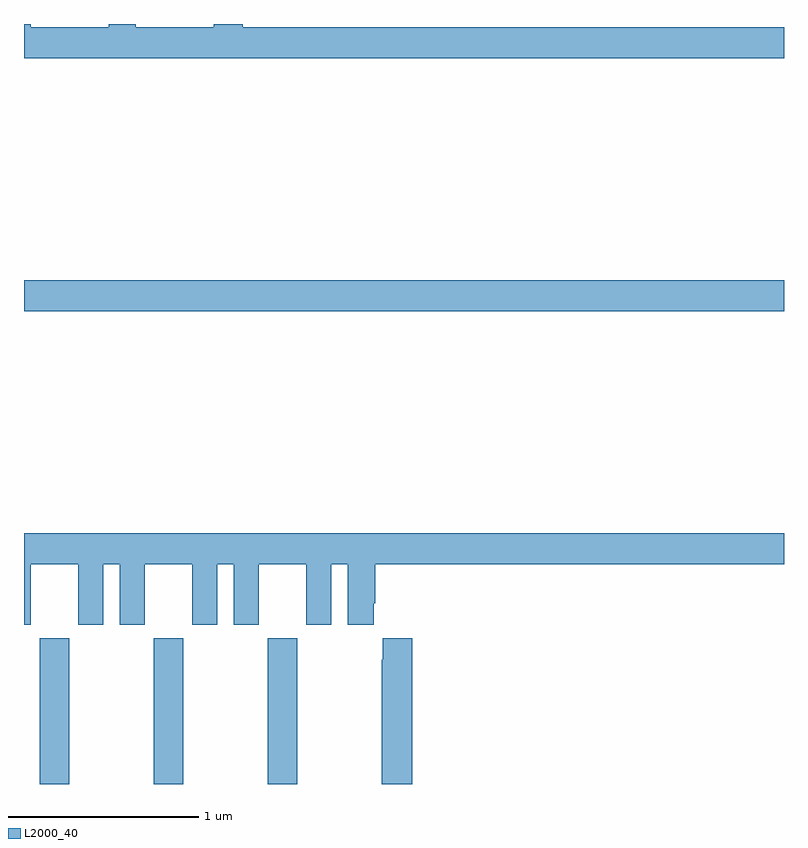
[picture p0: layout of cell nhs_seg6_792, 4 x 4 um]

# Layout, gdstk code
import gdstk
lib = gdstk.Library(unit=1e-6, precision=1e-09)
def R(c, l, rs):  # rectangles x0, y0, x1, y1
    for r in rs: c.add(gdstk.rectangle(r[:2], r[2:], *l))
def A(c, l, x, y, w, h, nx, ny, dx, dy):  # array of equal rectangles
    R(c, l, [(x+i*dx, y+j*dy, x+i*dx+w, y+j*dy+h) for i in range(nx) for j in range(ny)])
def P(c, l, *ps):  # polygons
    for p in ps: c.add(gdstk.Polygon(p, *l))
L2000_40 = (2000, 40)

nhs_seg6_792 = lib.new_cell('nhs_seg6_792')
A(nhs_seg6_792, L2000_40, 161.083, 959.5, 0.155, 0.768, 3, 1, 0.6, 0)
R(nhs_seg6_792, L2000_40, [(161,961.988,165,962.152)])
P(nhs_seg6_792, L2000_40, [(165,963.484),(162.152,963.484),(162.152,963.5),(161.999,963.5),(161.999,963.484),(161.587,963.484),(161.587,963.5),(161.447,963.5),(161.447,963.484),(161.035,963.484),(161.035,963.5),(161,963.5),(161,963.32),(165,963.32)],
  [(161.035,960.656),(161.285,960.656),(161.285,960.339),(161.416,960.339),(161.416,960.656),(161.504,960.656),(161.504,960.339),(161.635,960.339),(161.635,960.656),(161.885,960.656),(161.885,960.339),(162.016,960.339),(162.016,960.656),(162.104,960.656),(162.104,960.339),(162.235,960.339),(162.235,960.656),(162.485,960.656),(162.485,960.339),(162.616,960.339),(162.616,960.656),(162.704,960.656),(162.704,960.339),(162.841,960.339),(162.841,960.451),(162.848,960.451),(162.848,960.656),(165,960.656),(165,960.82),(161,960.82),(161,960.339),(161.035,960.339)],
  [(163.043,960.268),(162.887,960.268),(162.887,960.155),(162.883,960.155),(162.883,959.5),(163.043,959.5)])

lib.write_gds('nhs_seg6_792.gds')
